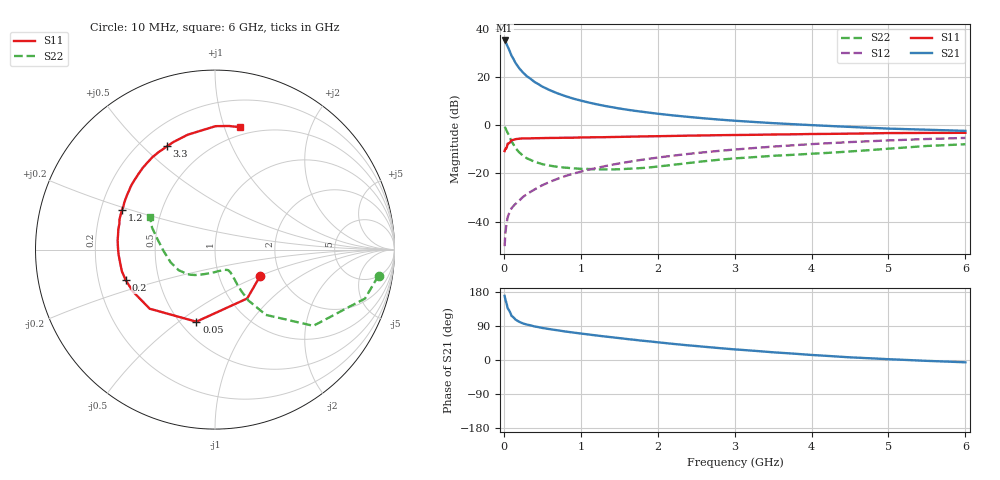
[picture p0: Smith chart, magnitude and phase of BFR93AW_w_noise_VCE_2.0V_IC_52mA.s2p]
! (c) 2017  Infineon Technologies AG, Munich
! Infineon Technologies  Discrete & RF Semiconductors
! BFR93AW
! VCE =  2.0 V,  IC =  52 mA
! Common Emitter S-Parameters:  Jan 2017
# GHz  S  MA  R  50
!  f  S11  S21  S12  S22
! GHz  MAG  ANG  MAG  ANG  MAG  ANG  MAG  ANG
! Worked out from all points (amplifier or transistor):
!   77 points, 10 MHz to 6 GHz, reference 50 ohm
!   highest |S21| = 35.2 dB at 10 MHz (marker M1)
!   |S21| within 3 dB of that: start of sweep to 56.62 MHz
!   unconditionally stable (mu >= 1): 332.1 MHz to 2.359 GHz
!   at 130 MHz: K = 0.70, MSG = 30.3 dB, |S12| = -33.4 dB
!   at 2.2 GHz: K = 1.01, MAG = 7.6 dB, |S12| = -12.6 dB
!   at 6 GHz: K = 0.94, MSG = 1.5 dB, |S12| = -5.3 dB
!   lowest NFmin = 2.34 dB at 450 MHz
!   S11 on the Smith chart (normalised r, x): 10 MHz: 1.57, -0.51; 50 MHz: 0.60, -0.58; 200 MHz: 0.32, -0.15; 1.2 GHz: 0.29, +0.19; 3.3 GHz: 0.31, +0.59; 6 GHz: 0.43, +1.13
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0.01  0.2915 -30.4  57.33 169.3  0.0031 83.1  0.9228 -9.0
0.02  0.3261 -56.6  55.53 159.5  0.0058 77.6  0.8789 -18.1
0.05  0.4148 -104.5  42.8 136.3  0.0124 62.8  0.6931 -37.8
0.1  0.4907 -137.8  27.73 116.5  0.019 58.1  0.4609 -52.1
0.15  0.5134 -152.8  19.78 106.8  0.0232 60.6  0.3396 -56.7
0.2  0.5256 -161.1  15.22 100.8  0.0274 62.7  0.2736 -57.6
0.25  0.5325 -166.8  12.35 96.4  0.0327 65.8  0.2328 -57.5
0.3  0.5332 -170.9  10.37 93.5  0.0371 67.6  0.2054 -56.9
0.4  0.5379 -177.0  7.876 88.5  0.0465 69.9  0.1745 -56.2
0.5  0.5411 178.4  6.331 84.6  0.057 71.2  0.156 -55.8
0.6  0.545 174.4  5.313 81.3  0.0672 71.7  0.1448 -56.5
0.7  0.5464 171.3  4.57 78.3  0.0775 72.4  0.1369 -57.2
0.9  0.5516 165.0  3.577 72.5  0.0986 72.0  0.1282 -61.8
1.1  0.5604 159.8  2.968 67.4  0.1193 71.0  0.1238 -67.8
1.2  0.5634 157.1  2.733 64.8  0.1292 70.2  0.1216 -71.2
1.6  0.5772 147.9  2.103 55.4  0.1714 67.2  0.1246 -88.2
2.1  0.5958 137.2  1.665 44.7  0.2234 62.5  0.1447 -110.8
3.1  0.629 118.4  1.211 26.6  0.3222 51.7  0.21 -140.9
3.3  0.6344 114.9  1.156 23.6  0.341 49.5  0.2205 -145.9
4.1  0.6592 101.9  0.988 12.1  0.4138 40.3  0.2612 -166.8
5.1  0.6882 88.5  0.842 1.3  0.4906 28.7  0.3345 167.6
6  0.6964 78.3  0.764 -6.1  0.546 18.7  0.4032 153.6
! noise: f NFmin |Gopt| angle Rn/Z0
0.45  2.34  0.27  -177  0.18
0.9  2.64  0.32  -166  0.18
1.9  3.79  0.54  -132  0.44
2.4  4.52  0.58  -122  0.81
